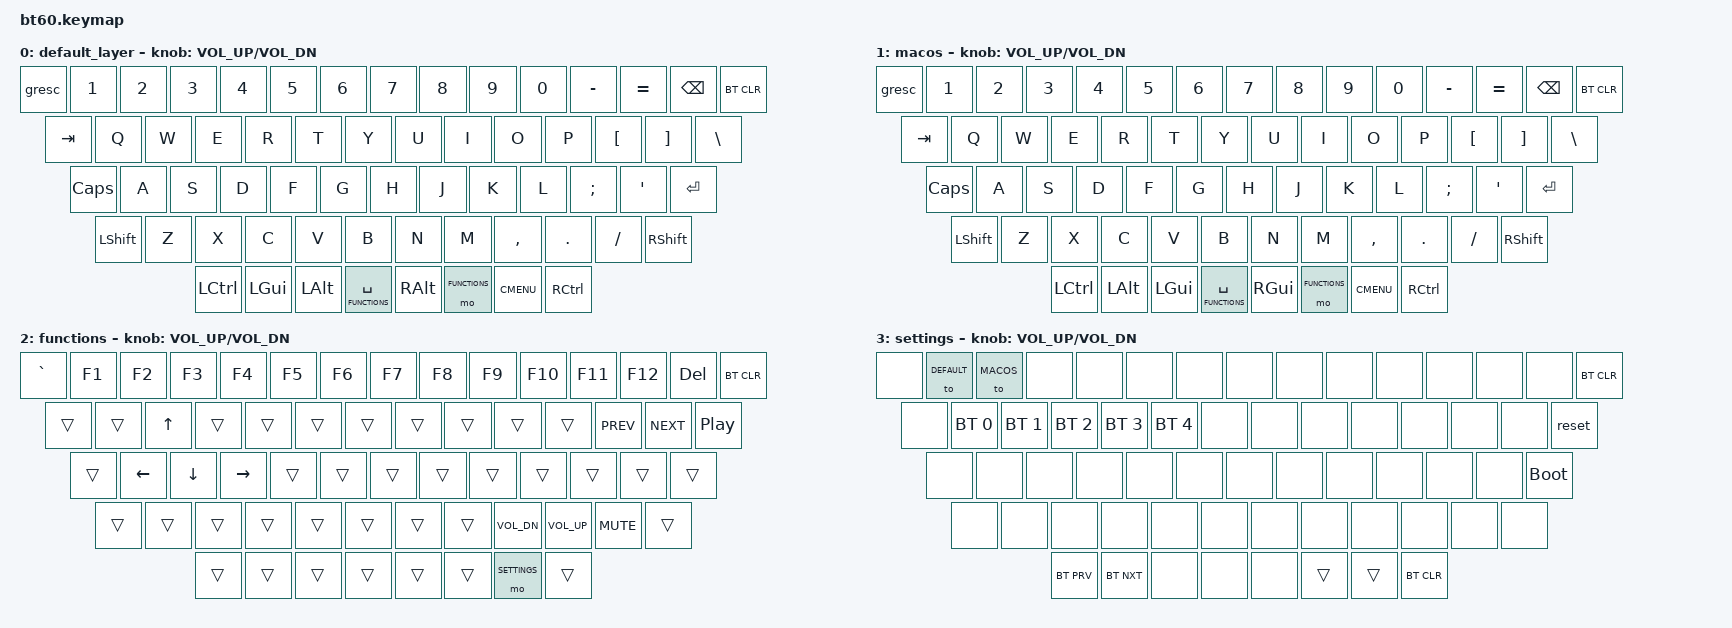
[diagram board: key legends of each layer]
#include <behaviors.dtsi>
#include <dt-bindings/zmk/keys.h>
#include <dt-bindings/zmk/bt.h>

#define DEFAULT 0
#define MACOS   1
#define FUNCTIONS   2
#define SETTINGS   2

/ {
	keymap {
		compatible = "zmk,keymap";

		default_layer {
				// ------------------------------------------------------------------------------------------
				// | ESC` |  1  |  2  |  3  |  4  |  5  |  6  |  7  |  8  |  9  |  0  |  -  |  =  |   BKSP   |
				// | TAB  |  Q  |  W  |  E  |  R  |  T  |  Y  |  U  |  I  |  O  |  P  |  [  |  ]  |   |    |
				// | CAPS  |  A  |  S  |  D  |  F  |  G  |  H  |  J  |  K  |  L  |  ;  |  '  |     ENTER    |
				// |  SHIFT    |  Z  |  X  |  C  |  V  |  B  |  N  |  M  |  ,  |  .  | /   |      SHIFT     |
				// |  CTL  |  WIN  |  ALT  |            LT(1, SPACE)               | ALT | FN |  MENU    |  CTRL    |
				// ------------------------------------------------------------------------------------------
			bindings = <
				&gresc &kp N1 &kp N2 &kp N3 &kp N4 &kp N5 &kp N6 &kp N7 &kp  N8   &kp  N9 &kp  N0  &kp MINUS &kp EQUAL &kp BSPC &bt BT_CLR
				&kp TAB  &kp Q  &kp W  &kp E  &kp R  &kp T  &kp Y  &kp U  &kp  I    &kp  O  &kp  P   &kp LBKT &kp RBKT  &kp BSLH
				&kp CLCK  &kp A  &kp S  &kp D  &kp F  &kp G  &kp H  &kp J  &kp  K    &kp  L  &kp SEMI &kp SQT           &kp RET
				&kp LSHFT  &kp Z  &kp X  &kp C  &kp V  &kp B  &kp N  &kp M  &kp COMMA &kp DOT &kp FSLH             &kp RSHFT
				&kp LCTRL &kp LGUI &kp LALT     &lt FUNCTIONS SPACE            &kp RALT  &mo FUNCTIONS &kp K_CMENU &kp RCTRL
			>;
			sensor-bindings = <&inc_dec_kp C_VOL_UP C_VOL_DN>;
		};

		macos {
				// ------------------------------------------------------------------------------------------
				// | ESC` |  1  |  2  |  3  |  4  |  5  |  6  |  7  |  8  |  9  |  0  |  -  |  =  |   BKSP   |
				// | TAB  |  Q  |  W  |  E  |  R  |  T  |  Y  |  U  |  I  |  O  |  P  |  [  |  ]  |   |    |
				// | CAPS  |  A  |  S  |  D  |  F  |  G  |  H  |  J  |  K  |  L  |  ;  |  '  |     ENTER    |
				// |  SHIFT    |  Z  |  X  |  C  |  V  |  B  |  N  |  M  |  ,  |  .  | /   |      SHIFT     |
				// |  CTL  |  ALT  |  GUI  |            LT(1, SPACE)               | GUI | FN |  MENU    |  CTRL    |
				// ------------------------------------------------------------------------------------------
			bindings = <
				&gresc &kp N1 &kp N2 &kp N3 &kp N4 &kp N5 &kp N6 &kp N7 &kp  N8   &kp  N9 &kp  N0  &kp MINUS &kp EQUAL &kp BSPC &bt BT_CLR
				&kp TAB  &kp Q  &kp W  &kp E  &kp R  &kp T  &kp Y  &kp U  &kp  I    &kp  O  &kp  P   &kp LBKT &kp RBKT  &kp BSLH
				&kp CLCK  &kp A  &kp S  &kp D  &kp F  &kp G  &kp H  &kp J  &kp  K    &kp  L  &kp SEMI &kp SQT           &kp RET
				&kp LSHFT  &kp Z  &kp X  &kp C  &kp V  &kp B  &kp N  &kp M  &kp COMMA &kp DOT &kp FSLH             &kp RSHFT
				&kp LCTRL &kp LALT &kp LGUI     &lt FUNCTIONS SPACE            &kp RGUI  &mo FUNCTIONS &kp K_CMENU &kp RCTRL
			>;
			sensor-bindings = <&inc_dec_kp C_VOL_UP C_VOL_DN>;
		};

		functions {
				// ------------------------------------------------------------------------------------------
				// | ` | F1  | F2  | F3  | F4  | F5  | F6  | F7  | F8  | F9  | F10  | F11  | F12  |  BKSP   |
				// | TAB  |  Q  |  UP  |  E  |  R  |  T  |  Y  |  U  |  I  |  O  |  P  |  PREV  |  NEXT  | PLAY/PAUSE |
				// | CAPS  | LEFT |  DOWN  | RIGHT |  F  |  G  |  H  |  J  |  K  |  L  |  ;  |  '  |     ENTER    |
				// |  SHIFT    |  Z  |  X  |  C  |  V  |  B  |  N  |  M  | VOL_DOWN | VOL_UP | MUTE |      SHIFT     |
				// |  CTL  |  WIN  |  ALT  |            SPACE               | ALT | FN  |  SETTINGS    |  CTRL    |
				// ------------------------------------------------------------------------------------------
			bindings = <
				&kp GRAVE &kp F1 &kp F2 &kp F3 &kp F4 &kp F5 &kp F6 &kp F7 &kp  F8   &kp  F9 &kp  F10  &kp F11 &kp F12   &kp DEL &bt BT_CLR
				&trans &trans &kp UP &trans &trans &trans &trans &trans &trans &trans &trans &kp C_PREV &kp C_NEXT &kp C_PLAY_PAUSE
				&trans &kp LEFT &kp DOWN &kp RIGHT &trans &trans &trans &trans &trans &trans &trans  &trans   &trans
				&trans &trans &trans &trans &trans &trans &trans &trans &kp C_VOL_DN &kp C_VOL_UP &kp C_MUTE  &trans
				&trans &trans &trans              &trans                            &trans   &trans   &mo SETTINGS &trans
			>;
			sensor-bindings = <&inc_dec_kp C_VOL_UP C_VOL_DN>;
		};

		settings {
				// ------------------------------------------------------------------------------------------
				// | NONE | TO DEFAULT | TO MACOS | NONE  | NONE  | NONE  | NONE  | NONE | NONE | NONE | NONE | NONE | NONE | NONE  |
				// | NONE | BT 1 | BT 2 | BT 3 | BT 4 | BT 5 | NONE | NONE | NONE | NONE | NONE | NONE | NONE | RESET |
				// | NONE | NONE | NONE | NONE | NONE | NONE | NONE | NONE | NONE | NONE | NONE | NONE | BOOTLOADER  |
				// | NONE  | NONE | NONE | NONE | NONE | NONE | NONE | NONE | NONE | NONE | NONE | NONE  |
				// | BT_PREV | BT_NEXT | NONE |           NONE               | NONE | NONE  | NONE | BT_CLR |
				// ------------------------------------------------------------------------------------------
			bindings = <
				&none &to DEFAULT &to MACOS &none &none &none &none &none &none &none &none  &none &none   &none &bt BT_CLR
				&none &bt BT_SEL 0 &bt BT_SEL 1 &bt BT_SEL 2 &bt BT_SEL 3 &bt BT_SEL 4 &none &none &none &none &none &none &none &reset
				&none  &none &none &none &none &none &none &none &none &none &none  &none   &bootloader
				&none &none &none &none &none &none &none &none &none &none &none  &none
				&bt BT_PRV &bt BT_NXT  &none              &none                            &none   &trans   &trans &bt BT_CLR
			>;
			sensor-bindings = <&inc_dec_kp C_VOL_UP C_VOL_DN>;
		};
	};
};
